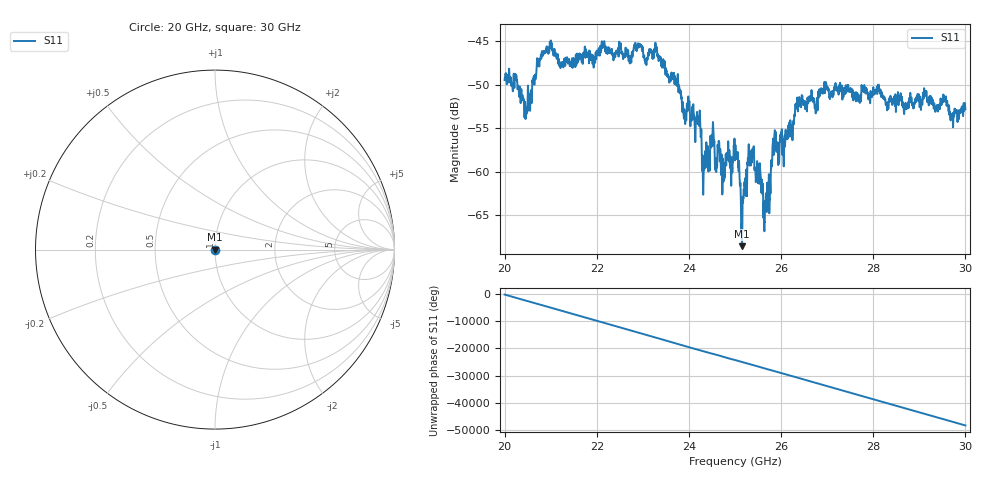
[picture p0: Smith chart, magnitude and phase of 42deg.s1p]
#  HZ  S  RI  R  50.00
! Rohde & Schwarz ZVA40 4Ports - Version 3.90 - 1145.1110k42 SN: 100403
! Date: 2023-10-03 11:53:56
! Measurement: S12
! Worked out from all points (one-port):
!   5001 points, 20 GHz to 30 GHz, reference 50 ohm
!   lowest |S11| = -68.5 dB at 25.15 GHz (marker M1), VSWR 1.00, Z = 50 - j0.00116 ohm
!   |S11| at or under -10 dB: start of sweep to end of sweep
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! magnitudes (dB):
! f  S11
! 20 GHz  -49.5
! 20.24 GHz  -49.2
! 20.48 GHz  -53.2
! 20.85 GHz  -46.2
! 21.25 GHz  -47.6
! 22.5 GHz  -45.6
! 23.29 GHz  -45.9
! 23.75 GHz  -50.1
! 23.9 GHz  -52.8
! 24.22 GHz  -54.7
! 24.32 GHz  -59.0
! 24.51 GHz  -56.6
! 24.74 GHz  -58.5
! 25 GHz  -58.7
! 25.05 GHz  -58.0
! 25.15 GHz  -68.5
! 25.34 GHz  -59.1
! 25.55 GHz  -60.3
! 25.66 GHz  -63.6
! 25.86 GHz  -55.8
! 26.25 GHz  -55.9
! 26.43 GHz  -52.2
! 27.5 GHz  -50.6
! 28.75 GHz  -52.1
! 29.12 GHz  -51.3
! 29.56 GHz  -51.6
! 29.71 GHz  -53.7
! 30 GHz  -52.8
